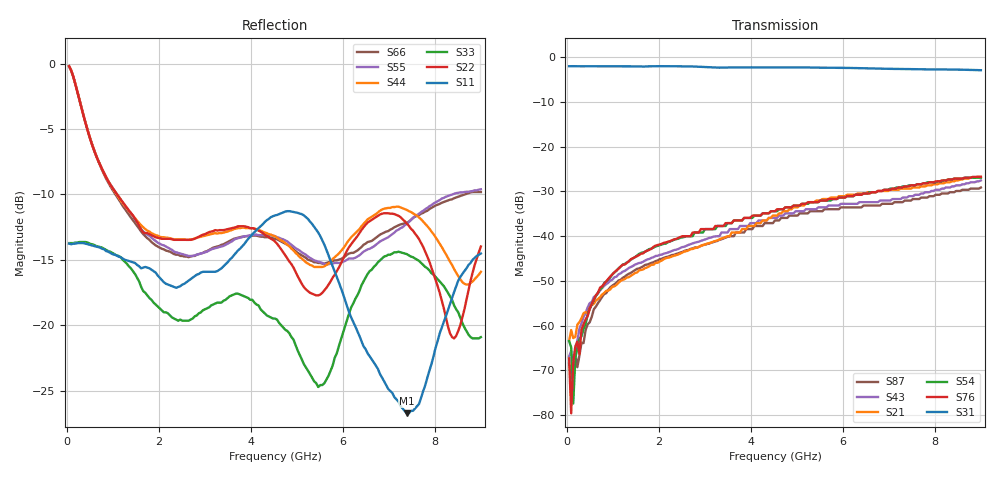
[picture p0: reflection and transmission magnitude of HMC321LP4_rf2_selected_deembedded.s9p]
! Hittite Microwave Corporation
! 20 Alpha Road
! Chelmsford, MA 01824
! Tel: 978-250-3343
! Fax: 978-250-3373
! Device: HMC321LP4, DC-8.0 GHz, GaAS MMIC SP8T Non-Reflective Positive
!  Control Switch in Low Cost Leadless SMT Package
! Misc: Data was de-embedded to package pins.
!  Port 1 = RFC
!  Port 2 = RF1  Port 6 = RF5
!  Port 3 = RF2  Port 7 = RF6
!  Port 4 = RF3  Port 8 = RF7
!  Port 5 = RF4  Port 9 = RF8
!  Vee = +5 V
!  Vctl =  0 V[Logic 0] / +5 V[Logic 1]
!  RF2 Selected,  VA = 1,  VB = 0,  VC = 0
!  Data reformated to new Touchstone file format - Fri Jan 12 11:45:23  2007
# MHz S DB R 50
! 9 Port Network Data
! Created Fri Jan 12 11:45:23 2007
! freq  dbS11  angS11  dbS12  angS12  dbS13  angS13  dbS14  angS14
!  dbS15  angS15  dbS16  angS16  dbS17  angS17  dbS18  angS18
!  dbS19  angS19
!  dbS21  angS21  dbS22  angS22  dbS23  angS23
!  dbS24  angS24  dbS25  angS25  dbS26  angS26  dbS27  angS27
!  dbS28  angS28  dbS29  angS29
!  dbS31  angS31  dbS32  angS32
!  dbS33  angS33  dbS34  angS34  dbS35  angS35  dbS36  angS36
!  dbS37  angS37  dbS38  angS38  dbS39  angS39
!  dbS41  angS41
!  dbS42  angS42  dbS43  angS43  dbS44  angS44  dbS45  angS45
!  dbS46  angS46  dbS47  angS47  dbS48  angS48  dbS49  angS49
!  dbS51  angS51  dbS52  angS52  dbS53  angS53  dbS54  angS54
!  dbS55  angS55  dbS56  angS56  dbS57  angS57  dbS58  angS58
!  dbS59  angS59
!  dbS61  angS61  dbS62  angS62  dbS63  angS63
!  dbS64  angS64  dbS65  angS65  dbS66  angS66  dbS67  angS67
!  dbS68  angS68  dbS69  angS69
!  dbS71  angS71  dbS72  angS72
!  dbS73  angS73  dbS74  angS74  dbS75  angS75  dbS76  angS76
!  dbS77  angS77  dbS78  angS78  dbS79  angS79
!  dbS81  angS81
!  dbS82  angS82  dbS83  angS83  dbS84  angS84  dbS85  angS85
!  dbS86  angS86  dbS87  angS87  dbS88  angS88  dbS89  angS89
!  dbS91  angS91  dbS92  angS92  dbS93  angS93  dbS94  angS94
!  dbS95  angS95  dbS96  angS96  dbS97  angS97  dbS98  angS98
!  dbS99  angS99
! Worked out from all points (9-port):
!   201 points, 54 MHz to 9 GHz, reference 50 ohm
!   strongest paths, dB at 54 MHz, 2.291 GHz, 4.527 GHz, 6.763 GHz, 9 GHz:
!     S31: -2.0, -2.0, -2.3, -2.5, -2.9
!     S76: -67.3, -40.9, -34.4, -29.9, -26.7
!     S54: -63.5, -41.0, -34.4, -29.9, -26.9
!     S21: -63.4, -44.5, -35.4, -29.9, -26.7
!     S43: -66.9, -43.3, -35.9, -32.4, -27.5
!     S87: -68.5, -44.2, -36.5, -33.2, -29.1
!   lowest |S11| = -26.7 dB at 7.39 GHz (marker M1), VSWR 1.10, Z = 45.6 + j0.364 ohm
!   |S11| at or under -10 dB: start of sweep to end of sweep
